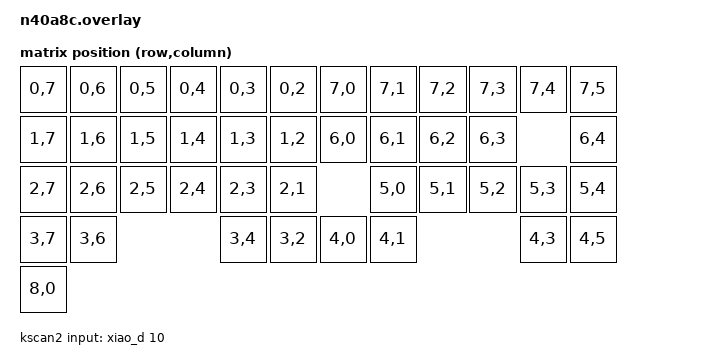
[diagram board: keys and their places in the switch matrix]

#include <dt-bindings/zmk/matrix_transform.h>
#include "layouts.dtsi"

/ {
    behaviors {
        hw_soft_off: hw_soft_off {
            compatible = "zmk,behavior-soft-off";
            #binding-cells = <0>;
            split-peripheral-off-on-press; // Turn peripheral off immediately for reliability
            hold-time-ms = <2000>; // Only turn off if the key is held for 2 seconds or longer.
        };
    };
    keys {
        compatible = "gpio-keys";
        soft_off_gpio_key: soft_off_gpio_key {
            gpios = <&xiao_d 9 (GPIO_ACTIVE_LOW | GPIO_PULL_UP) >;
        };
    };
    wakeup_scan: wakeup_scan {
        compatible = "zmk,kscan-gpio-direct";
        input-keys = <&soft_off_gpio_key>;
        wakeup-source;
    };
};

/ {
    chosen {
        zmk,physical-layout = &physical_layout0;
    };

    default_transform: keymap_transform_0 {
        compatible = "zmk,matrix-transform";
        columns = <12>;
        rows = <5>;
        map = <
            RC(0,7) RC(0,6) RC(0,5) RC(0,4) RC(0,3) RC(0,2) RC(7,0) RC(7,1) RC(7,2) RC(7,3) RC(7,4)  RC(7,5) 
            RC(1,7) RC(1,6) RC(1,5) RC(1,4) RC(1,3) RC(1,2) RC(6,0) RC(6,1) RC(6,2) RC(6,3)          RC(6,4)
            RC(2,7) RC(2,6) RC(2,5) RC(2,4) RC(2,3) RC(2,1)         RC(5,0) RC(5,1) RC(5,2) RC(5,3)  RC(5,4)
            RC(3,7) RC(3,6)                 RC(3,4) RC(3,2) RC(4,0) RC(4,1)                 RC(4,3)  RC(4,5)
	    RC(8,0)
        >;
    };

    kscan0: kscan {
        compatible = "zmk,kscan-composite";
        rows = <8>;
        columns = <8>;

        // Include the matrix driver
        matrix {
            kscan = <&kscan1>;
        };

        // Include the direct GPIO driver...
        direct {
            kscan = <&kscan2>;
            row-offset = <8>; // ...and shift it to not overlap
        };    
    };

    // keyboard
    kscan1: kscan_matrix {
        compatible = "zmk,kscan-gpio-charlieplex";
        wakeup-source;

        interrupt-gpios = <&xiao_d 0 (GPIO_ACTIVE_HIGH | GPIO_PULL_DOWN) >;
        gpios
          = <&xiao_d 8 GPIO_ACTIVE_HIGH>
          , <&xiao_d 7 GPIO_ACTIVE_HIGH>
          , <&xiao_d 6 GPIO_ACTIVE_HIGH>
          , <&xiao_d 5 GPIO_ACTIVE_HIGH>
          , <&xiao_d 4 GPIO_ACTIVE_HIGH>
          , <&xiao_d 3 GPIO_ACTIVE_HIGH>
          , <&xiao_d 2 GPIO_ACTIVE_HIGH>
          , <&xiao_d 1 GPIO_ACTIVE_HIGH>
          ; // addressable space is 8x8, (minus paired values)

    };

    // conn direct button
    kscan2: kscan_direct {
        compatible = "zmk,kscan-gpio-direct";
        input-gpios
          = <&xiao_d 10 (GPIO_ACTIVE_LOW | GPIO_PULL_UP) >;
    };
};

&physical_layout0 {
    kscan = <&kscan0>;
    transform = <&default_transform>;
};

&xiao_serial {
    status = "disabled";
};
